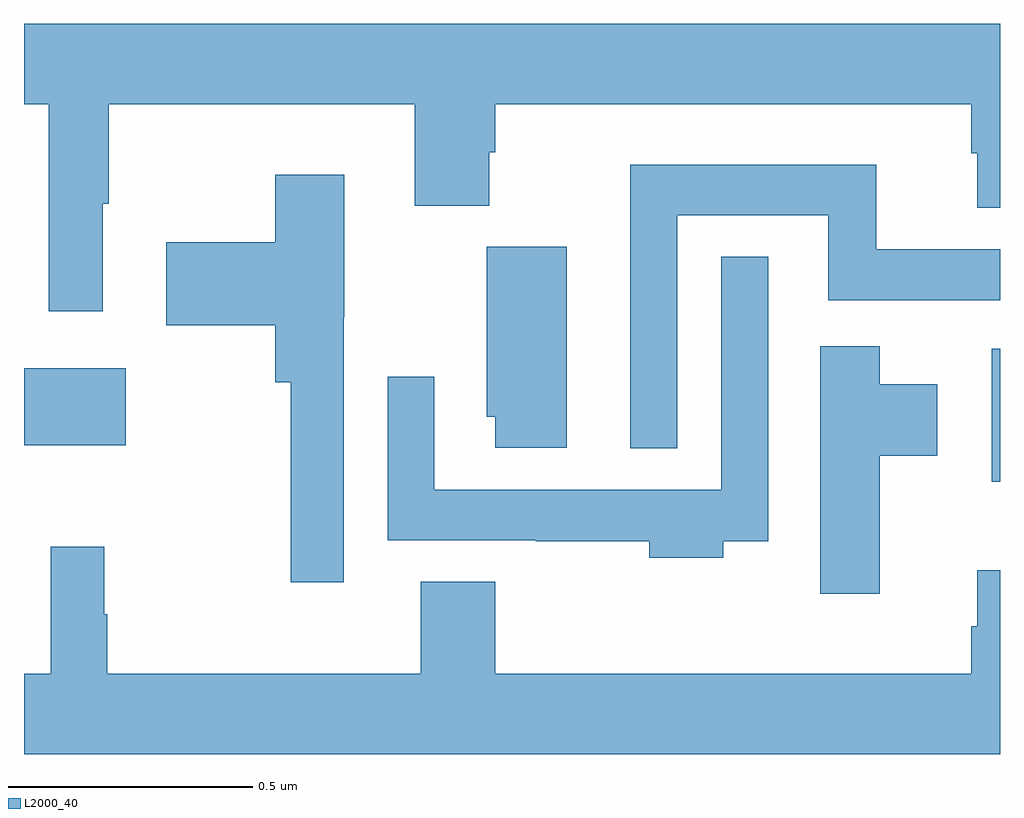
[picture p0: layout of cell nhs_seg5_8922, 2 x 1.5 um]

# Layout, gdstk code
import gdstk
lib = gdstk.Library(unit=1e-6, precision=1e-09)
def R(c, l, rs):  # rectangles x0, y0, x1, y1
    for r in rs: c.add(gdstk.rectangle(r[:2], r[2:], *l))
def P(c, l, *ps):  # polygons
    for p in ps: c.add(gdstk.Polygon(p, *l))
L2000_40 = (2000, 40)

nhs_seg5_8922 = lib.new_cell('nhs_seg5_8922')
R(nhs_seg5_8922, L2000_40, [(228.983,894.614,229,894.886), (227,894.689,227.209,894.847)])
P(nhs_seg5_8922, L2000_40, [(227.161,895.184),(227.174,895.184),(227.174,895.388),(227.801,895.388),(227.801,895.18),(227.953,895.18),(227.953,895.289),(227.966,895.289),(227.966,895.388),(228.941,895.388),(228.941,895.287),(228.953,895.287),(228.953,895.175),(229,895.175),(229,895.552),(227,895.552),(227,895.388),(227.051,895.388),(227.051,894.963),(227.161,894.963)],
  [(228.339,895.16),(228.648,895.16),(228.648,894.986),(229,894.986),(229,895.09),(228.746,895.09),(228.746,895.264),(228.242,895.264),(228.242,894.683),(228.339,894.683)],
  [(227.655,894.951),(227.656,894.951),(227.656,895.243),(227.515,895.243),(227.515,895.105),(227.292,895.105),(227.292,894.935),(227.515,894.935),(227.515,894.818),(227.547,894.818),(227.547,894.408),(227.655,894.408)],
  [(228.112,895.095),(227.948,895.095),(227.948,894.747),(227.966,894.747),(227.966,894.684),(228.112,894.684)],
  [(228.433,894.492),(228.525,894.492),(228.525,895.075),(228.429,895.075),(228.429,894.598),(227.841,894.598),(227.841,894.829),(227.745,894.829),(227.745,894.494),(228.049,894.494),(228.049,894.492),(228.281,894.492),(228.281,894.458),(228.433,894.458)],
  [(228.754,894.667),(228.871,894.667),(228.871,894.814),(228.754,894.814),(228.754,894.892),(228.632,894.892),(228.632,894.384),(228.754,894.384)],
  [(229,894.433),(228.953,894.433),(228.953,894.318),(228.941,894.318),(228.941,894.22),(227.966,894.22),(227.966,894.409),(227.813,894.409),(227.813,894.22),(227.171,894.22),(227.171,894.342),(227.164,894.342),(227.164,894.481),(227.055,894.481),(227.055,894.22),(227,894.22),(227,894.056),(229,894.056)])

lib.write_gds('nhs_seg5_8922.gds')
